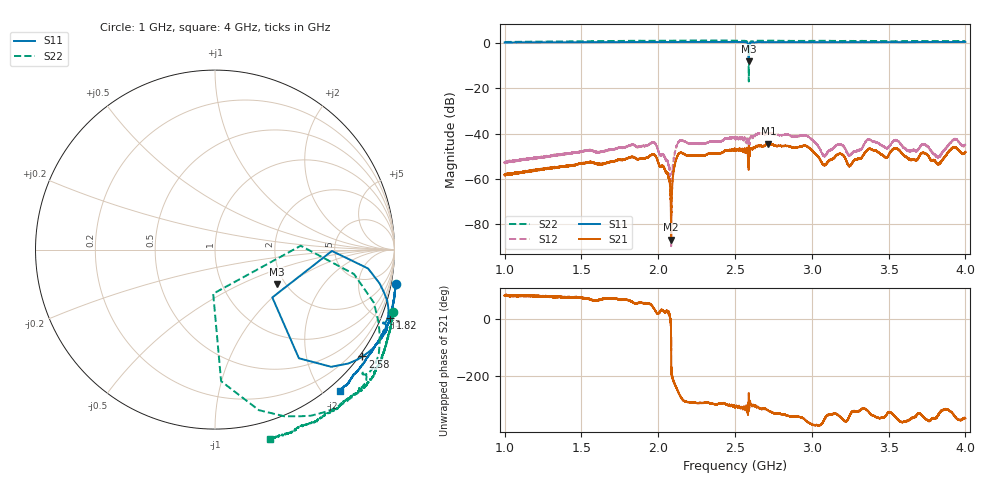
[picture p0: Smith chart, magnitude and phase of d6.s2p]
!Agilent Technologies,N5230C,SG49000117,A.08.50.07
!Agilent N5230C: A.08.50.07
!Date: Friday, May 17, 2024 22:48:31
!Correction: S11(Full 2 Port(1,2))
!S21(Full 2 Port(1,2))
!S12(Full 2 Port(1,2))
!S22(Full 2 Port(1,2))
!S2P File: Measurements: S11, S21, S12, S22:
# Hz S  MA  R 50
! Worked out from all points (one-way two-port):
!   20001 points, 1 GHz to 4 GHz, reference 50 ohm
!   highest |S21| = -44.47 dB at 2.717 GHz (marker M1); lowest = -86.7 dB at 2.084 GHz (marker M2)
!   lowest |S11| = -8.1 dB at 2.59 GHz (marker M3), VSWR 2.30, Z = 90.4 - j41.2 ohm
!   |S11| at or under -10 dB: nowhere
!   |S22| runs from -17.0 to 1.1 dB; largest |S21 - S12| = 0.0056
!   S11 on the Smith chart (normalised r, x): 1 GHz: -1, -10; 1.82 GHz: -0.66, -5.21; 2.58 GHz: -0.08, -3.08; 4 GHz: -0.15, -2.21
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1e9  1.026 -10.8  0.001227 82.0  0.002332 73.7  1.053 -19.4
1.5001e9  1.039 -18.0  0.002244 72.9  0.003945 60.8  1.088 -28.9
1.82035e9  1.047 -21.4  0.003043 62.2  0.005616 48.5  1.112 -34.0
2.00005e9  1.049 -23.2  0.002337 18.9  0.004306 -0.4  1.118 -37.1
2.0845e9  1.049 -23.8  4.615e-05 -102.1  9.585e-05 -108.5  1.121 -37.5
2.11225e9  1.048 -24.0  0.002389 127.1  0.004229 110.8  1.124 -37.9
2.14135e9  1.05 -24.2  0.003779 92.8  0.007024 76.5  1.121 -37.9
2.5e9  1.051 -27.1  0.004594 51.8  0.00835 30.7  1.127 -45.0
2.5798e9  1.015 -35.9  0.004815 37.8  0.007779 11.2  1.066 -60.5
2.58955e9  0.3942 -29.2  0.002073 93.6  0.002382 84.2  0.168 -75.8
2.60815e9  1.034 -21.5  0.004771 58.2  0.00866 41.2  1.097 -36.4
2.71705e9  1.045 -26.3  0.005979 39.5  0.01019 18.5  1.121 -44.4
3.0001e9  1.041 -30.8  0.004334 -8.2  0.007338 -30.8  1.112 -51.0
3.0817e9  1.042 -32.1  0.002021 8.9  0.003229 -13.8  1.117 -52.5
3.1834e9  1.04 -34.2  0.003613 18.2  0.005721 -6.4  1.108 -55.5
3.2488e9  1.04 -35.8  0.001979 23.2  0.003356 -1.4  1.108 -57.5
3.3697e9  1.041 -38.0  0.00457 35.9  0.007531 6.5  1.11 -60.1
3.50005e9  1.043 -40.0  0.003367 33.7  0.005123 2.0  1.094 -63.7
3.73195e9  1.049 -44.6  0.003695 15.5  0.005879 -12.2  1.098 -68.6
3.82015e9  1.052 -45.8  0.002129 21.7  0.002884 -7.7  1.096 -71.1
3.92635e9  1.048 -47.7  0.005058 23.2  0.007564 -2.0  1.097 -73.2
4e9  1.052 -48.6  0.003926 12.9  0.005755 -16.6  1.1 -73.6
